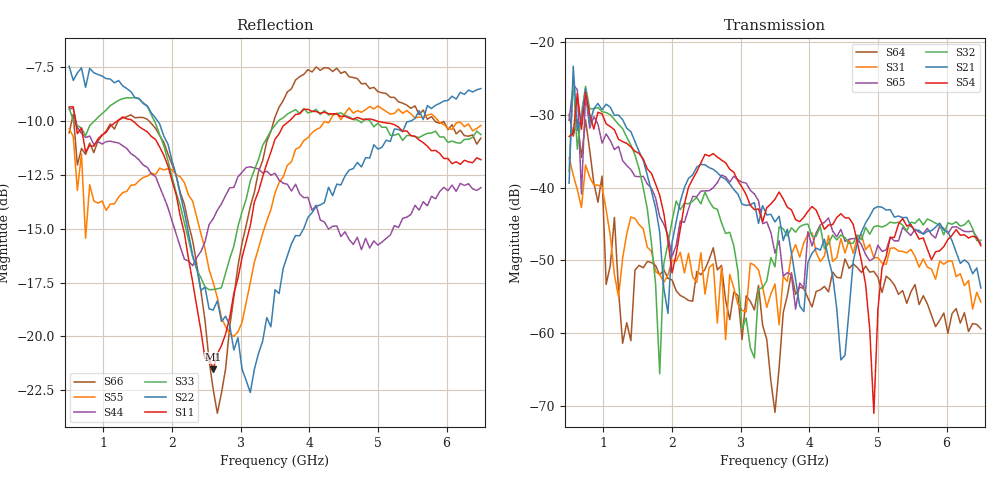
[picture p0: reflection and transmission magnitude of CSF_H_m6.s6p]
!Keysight Technologies,M9804A,MY58100912,A.14.10.03
!Date: Thursday, April 27, 2023 10:28:33
!Correction: S11(C  6-Port  )
!S12(C  6-Port  )
!S13(C  6-Port  )
!S14(C  6-Port  )
!S15(C  6-Port  )
!S16(C  6-Port  )
!S21(C  6-Port  )
!S22(C  6-Port  )
!S23(C  6-Port  )
!S24(C  6-Port  )
!S25(C  6-Port  )
!S26(C  6-Port  )
!S31(C  6-Port  )
!S32(C  6-Port  )
!S33(C  6-Port  )
!S34(C  6-Port  )
!S35(C  6-Port  )
!S36(C  6-Port  )
!S41(C  6-Port  )
!S42(C  6-Port  )
!S43(C  6-Port  )
!S44(C  6-Port  )
!S45(C  6-Port  )
!S46(C  6-Port  )
!S51(C  6-Port  )
!S52(C  6-Port  )
!S53(C  6-Port  )
!S54(C  6-Port  )
!S55(C  6-Port  )
!S56(C  6-Port  )
!S61(C  6-Port  )
!S62(C  6-Port  )
!S63(C  6-Port  )
!S64(C  6-Port  )
!S65(C  6-Port  )
!S66(C  6-Port  )
!S6P File: Measurement: :
# Hz S  RI  R 50
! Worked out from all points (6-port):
!   101 points, 500 MHz to 6.5 GHz, reference 50 ohm
!   strongest paths, dB at 500 MHz, 2 GHz, 3.5 GHz, 5 GHz, 6.5 GHz:
!     S54: -33.0, -51.7, -41.6, -56.7, -48.0
!     S21: -39.4, -47.5, -44.7, -42.6, -53.8
!     S32: -37.7, -44.6, -50.9, -45.2, -47.2
!     S65: -30.8, -49.4, -49.0, -47.9, -47.7
!     S31: -35.9, -50.0, -53.3, -49.6, -55.7
!     S64: -30.0, -52.7, -70.9, -52.3, -59.4
!   lowest |S11| = -21.5 dB at 2.6 GHz (marker M1), VSWR 1.18, Z = 42.5 + j2.07 ohm
!   |S11| at or under -10 dB: 590.8 MHz to 1.209 GHz (618.1 MHz wide, 68.7 % of centre); 1.42 GHz to 3.713 GHz (2.293 GHz wide, 89.3 % of centre); 4.969 GHz to end of sweep
